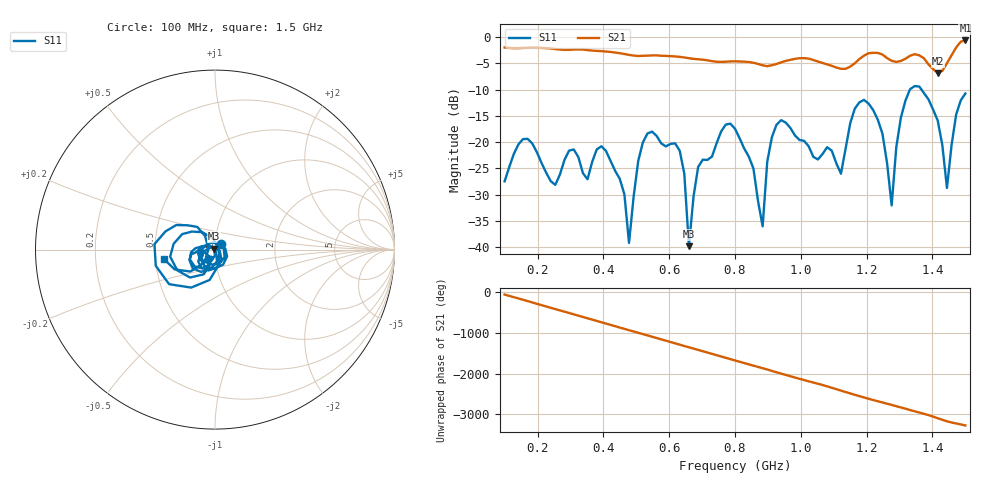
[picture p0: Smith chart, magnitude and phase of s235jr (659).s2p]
! NanoVNA-App
! Date: 2025-09-25 15:09:18
! Start: 100MHz Stop: 1,5GHz Points: 101
! S-Parameter data: F S11 S21 S12 S22
# Hz S RI R 50
!  Frequency  S11_Real  S11_Imag  S21_Real  S21_Imag  S12_Real  S12_Imag  S22_Real  S22_Imag
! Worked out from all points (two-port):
!   101 points, 100 MHz to 1.5 GHz, reference 50 ohm
!   highest |S21| = -0.62 dB at 1.5 GHz (marker M1); lowest = -6.9 dB at 1.416 GHz (marker M2)
!   |S21| within 3 dB of the highest: start of sweep to 606.2 MHz; 1.19 GHz to 1.255 GHz (64.77 MHz wide, 5.3 % of centre) (the widest 2 of 4)
!   lowest |S11| = -39.8 dB at 660 MHz (marker M3), VSWR 1.02, Z = 49.2 + j0.594 ohm
!   |S11| at or under -10 dB: start of sweep to 1.331 GHz; 1.367 GHz to end of sweep
!   S12 and S22 are empty: the file has one direction only
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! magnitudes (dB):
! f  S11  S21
! 100 MHz  -27.5  -2.0
! 156 MHz  -19.4  -2.0
! 338 MHz  -25.9  -2.4
! 408 MHz  -21.7  -2.7
! 478 MHz  -39.2  -3.4
! 520 MHz  -20.1  -3.5
! 576 MHz  -20.2  -3.5
! 632 MHz  -21.6  -3.7
! 660 MHz  -39.8  -4.0
! 688 MHz  -24.7  -4.2
! 800 MHz  -17.4  -4.6
! 884 MHz  -36.0  -5.4
! 926 MHz  -16.7  -5.1
! 1.038 GHz  -22.8  -4.3
! 1.122 GHz  -26.0  -6.0
! 1.192 GHz  -11.9  -3.5
! 1.248 GHz  -18.4  -3.3
! 1.276 GHz  -32.1  -4.5
! 1.332 GHz  -9.9  -3.5
! 1.416 GHz  -15.9  -6.9
! 1.444 GHz  -28.7  -4.9
! 1.5 GHz  -10.7  -0.6
